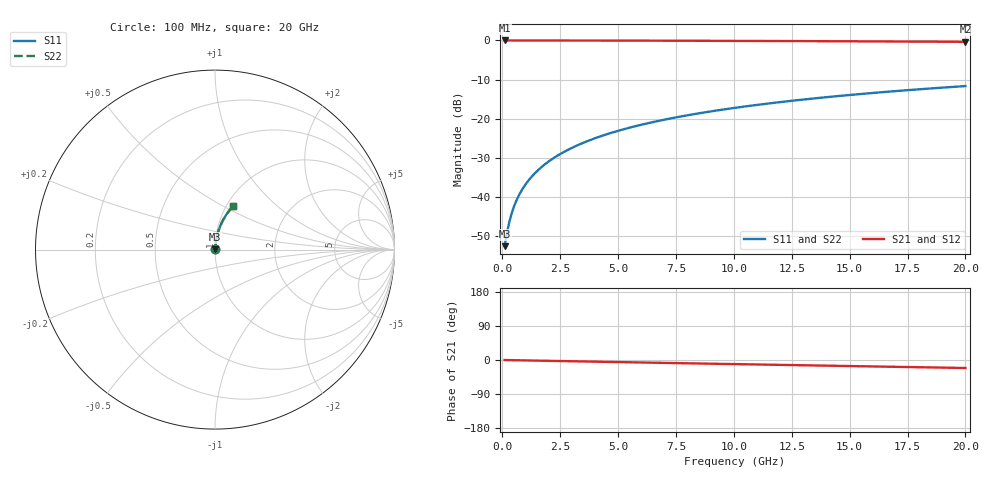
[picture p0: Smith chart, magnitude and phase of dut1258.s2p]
! Touchstone file exported from HFSS 2026.1.0
!  File:  C:/ffzhzh/LocalFiles/Ansys_Project_Files/temp_train_BSMRDL_1258_1783177452_43440.aedt
!  Generated:  11:05:31 PM Jul  4, 2026
!  Design:  BSMRDL
!  Project:  temp_train_BSMRDL_1258_1783177452_43440
! Variables:
!  h_bsmrdl = 3.98um
!  h_ox = 20um
!  h_rdl = 5um
!  h_sub = 80um
!  h_tmrdl = 5um
!  h_tsv = 80um
!  h_via = 3um
!  l_bsmrdl = 231.42um
!  l_sub = 631.42um
!  l_tmrdl = 200um
!  m_sub = 200um
!  pitch = 47.64um
!  r_tsv = 6um
!  s_tmrdl = 10um
!  w_bsmrdl = 11.94um
!  w_sub = 500um
!  w_tmrdl = 12um
!  x_tsv_center1 = 206um
!  x_tsv_center2 = 449.36um
!  x_tsv_center3 = 661.36um
!  x_tsv_center4 = 904.72um
!  x_tsv_center5 = 1116.72um
!  x_tsv_center6 = 1360.08um
# GHz S MA R 50.000000
! Terminal data exported
! Port[1] = BSM_RDL1_1_T1
! Port[2] = BSM_RDL1_1_T2
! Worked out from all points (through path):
!   200 points, 100 MHz to 20 GHz, reference 50 ohm
!   highest |S21| = -0.02 dB at 100 MHz (marker M1); lowest = -0.4 dB at 20 GHz (marker M2)
!   group delay of S21, straight-line fit = 2.93 ps
!   lowest |S11| = -52.6 dB at 100 MHz (marker M3), VSWR 1.00, Z = 50.2 + j0.146 ohm
!   |S11| at or under -10 dB: start of sweep to end of sweep
!   |S22| runs from -52.6 to -11.7 dB; largest |S21 - S12| = 3.3e-15
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0.1  0.002356 38.3  0.9982 -0.1  0.9982 -0.1  0.002356 38.3
! Gamma 0 0 0 0
! Port Impedance 50 0 50 0
0.2  0.003465 57.2  0.9981 -0.2  0.9981 -0.2  0.003465 57.1
0.3  0.004759 66.2  0.9981 -0.3  0.9981 -0.3  0.004759 66.2
0.4  0.006112 71.1  0.998 -0.4  0.998 -0.4  0.006112 71.1
0.5  0.007486 74.2  0.998 -0.6  0.998 -0.6  0.007485 74.2
0.6  0.008868 76.3  0.998 -0.7  0.998 -0.7  0.008868 76.3
0.8  0.01164 79.0  0.9979 -0.9  0.9979 -0.9  0.01164 79.0
1.1  0.01582 81.1  0.9978 -1.2  0.9978 -1.2  0.01582 81.1
1.5  0.0214 82.5  0.9976 -1.7  0.9976 -1.7  0.0214 82.5
1.8  0.0256 83.0  0.9974 -2.0  0.9974 -2.0  0.0256 83.0
2.1  0.02979 83.3  0.9973 -2.3  0.9973 -2.3  0.02979 83.3
2.7  0.03817 83.4  0.9969 -3.0  0.9969 -3.0  0.03817 83.4
3.5  0.0493 83.1  0.9962 -3.9  0.9962 -3.9  0.0493 83.1
4.2  0.059 82.6  0.9954 -4.6  0.9954 -4.6  0.059 82.6
5  0.07001 82.0  0.9945 -5.5  0.9945 -5.5  0.07001 82.0
5.9  0.08232 81.2  0.9933 -6.5  0.9933 -6.5  0.08232 81.2
6.8  0.09452 80.4  0.9919 -7.4  0.9919 -7.4  0.09452 80.4
8.3  0.1146 78.9  0.9893 -9.0  0.9893 -9.0  0.1146 78.9
10.1  0.1384 77.1  0.9858 -10.9  0.9858 -10.9  0.1384 77.1
13.4  0.1808 73.9  0.9781 -14.4  0.9781 -14.4  0.1808 73.9
16.7  0.2218 70.7  0.969 -17.8  0.969 -17.8  0.2218 70.7
20  0.2611 67.5  0.9587 -21.1  0.9587 -21.1  0.2611 67.5
